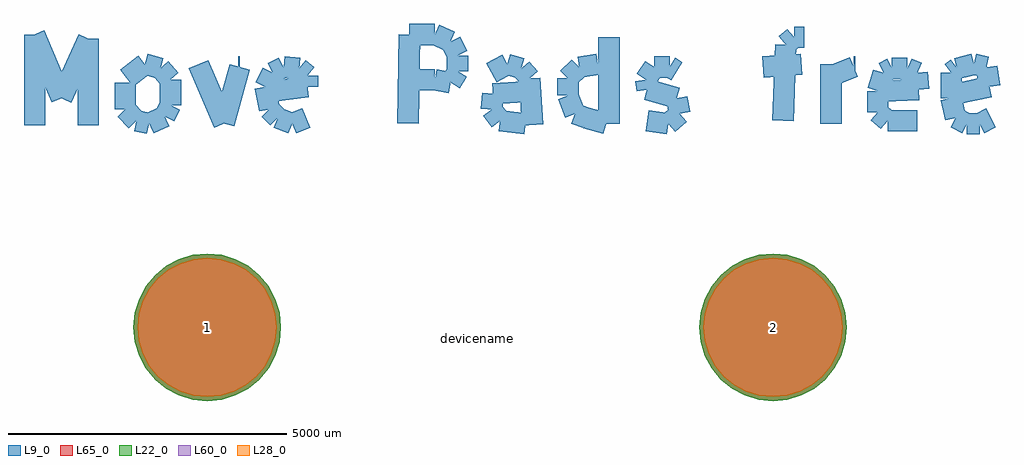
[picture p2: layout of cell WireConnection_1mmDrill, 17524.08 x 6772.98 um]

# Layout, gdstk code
import gdstk
lib = gdstk.Library(unit=1e-6, precision=1e-09)
def P(c, l, *ps):  # polygons
    for p in ps: c.add(gdstk.Polygon(p, *l))
L9_0 = (9, 0)
L22_0 = (22, 0)
L28_0 = (28, 0)
L60_0 = (60, 0)
L65_0 = (65, 0)

wireconnection_1mmdrill = lib.new_cell('WireConnection_1mmDrill')
P(wireconnection_1mmdrill, L22_0, [(11484.68,0),(11459.227,258.432),(11383.845,506.933),(11261.431,735.953),(11096.69,936.69),(10895.953,1101.431),(10666.933,1223.845),(10418.432,1299.227),(10160,1324.68),(9901.568,1299.227),(9653.067,1223.845),(9424.047,1101.431),(9223.31,936.69),(9058.569,735.953),(8936.155,506.933),(8860.773,258.432),(8835.32,0),(8860.773,-258.432),(8936.155,-506.933),(9058.569,-735.953),(9223.31,-936.69),(9424.047,-1101.431),(9653.067,-1223.845),(9901.568,-1299.227),(10160,-1324.68),(10418.432,-1299.227),(10666.933,-1223.845),(10895.953,-1101.431),(11096.69,-936.69),(11261.431,-735.953),(11383.845,-506.933),(11459.227,-258.432)],
  [(1324.68,0),(1299.227,258.432),(1223.845,506.933),(1101.431,735.953),(936.69,936.69),(735.953,1101.431),(506.933,1223.845),(258.432,1299.227),(0,1324.68),(-258.432,1299.227),(-506.933,1223.845),(-735.953,1101.431),(-936.69,936.69),(-1101.431,735.953),(-1223.845,506.933),(-1299.227,258.432),(-1324.68,0),(-1299.227,-258.432),(-1223.845,-506.933),(-1101.431,-735.953),(-936.69,-936.69),(-735.953,-1101.431),(-506.933,-1223.845),(-258.432,-1299.227),(0,-1324.68),(258.432,-1299.227),(506.933,-1223.845),(735.953,-1101.431),(936.69,-936.69),(1101.431,-735.953),(1223.845,-506.933),(1299.227,-258.432)])
P(wireconnection_1mmdrill, L28_0, [(11409.68,0),(11385.668,243.8),(11314.554,478.232),(11199.071,694.285),(11043.657,883.657),(10854.285,1039.071),(10638.232,1154.554),(10403.8,1225.668),(10160,1249.68),(9916.2,1225.668),(9681.768,1154.554),(9465.715,1039.071),(9276.343,883.657),(9120.929,694.285),(9005.446,478.232),(8934.332,243.8),(8910.32,0),(8934.332,-243.8),(9005.446,-478.232),(9120.929,-694.285),(9276.343,-883.657),(9465.715,-1039.071),(9681.768,-1154.554),(9916.2,-1225.668),(10160,-1249.68),(10403.8,-1225.668),(10638.232,-1154.554),(10854.285,-1039.071),(11043.657,-883.657),(11199.071,-694.285),(11314.554,-478.232),(11385.668,-243.8)],
  [(1249.68,0),(1225.668,243.8),(1154.554,478.232),(1039.071,694.285),(883.657,883.657),(694.285,1039.071),(478.232,1154.554),(243.8,1225.668),(0,1249.68),(-243.8,1225.668),(-478.232,1154.554),(-694.285,1039.071),(-883.657,883.657),(-1039.071,694.285),(-1154.554,478.232),(-1225.668,243.8),(-1249.68,0),(-1225.668,-243.8),(-1154.554,-478.232),(-1039.071,-694.285),(-883.657,-883.657),(-694.285,-1039.071),(-478.232,-1154.554),(-243.8,-1225.668),(0,-1249.68),(243.8,-1225.668),(478.232,-1154.554),(694.285,-1039.071),(883.657,-883.657),(1039.071,-694.285),(1154.554,-478.232),(1225.668,-243.8)])
P(wireconnection_1mmdrill, L60_0, [(11409.68,0),(11385.668,243.8),(11314.554,478.232),(11199.071,694.285),(11043.657,883.657),(10854.285,1039.071),(10638.232,1154.554),(10403.8,1225.668),(10160,1249.68),(9916.2,1225.668),(9681.768,1154.554),(9465.715,1039.071),(9276.343,883.657),(9120.929,694.285),(9005.446,478.232),(8934.332,243.8),(8910.32,0),(8934.332,-243.8),(9005.446,-478.232),(9120.929,-694.285),(9276.343,-883.657),(9465.715,-1039.071),(9681.768,-1154.554),(9916.2,-1225.668),(10160,-1249.68),(10403.8,-1225.668),(10638.232,-1154.554),(10854.285,-1039.071),(11043.657,-883.657),(11199.071,-694.285),(11314.554,-478.232),(11385.668,-243.8)],
  [(1249.68,0),(1225.668,243.8),(1154.554,478.232),(1039.071,694.285),(883.657,883.657),(694.285,1039.071),(478.232,1154.554),(243.8,1225.668),(0,1249.68),(-243.8,1225.668),(-478.232,1154.554),(-694.285,1039.071),(-883.657,883.657),(-1039.071,694.285),(-1154.554,478.232),(-1225.668,243.8),(-1249.68,0),(-1225.668,-243.8),(-1154.554,-478.232),(-1039.071,-694.285),(-883.657,-883.657),(-694.285,-1039.071),(-478.232,-1154.554),(-243.8,-1225.668),(0,-1249.68),(243.8,-1225.668),(478.232,-1154.554),(694.285,-1039.071),(883.657,-883.657),(1039.071,-694.285),(1154.554,-478.232),(1225.668,-243.8)])
P(wireconnection_1mmdrill, L65_0, [(11484.68,0),(11459.227,258.432),(11383.845,506.933),(11261.431,735.953),(11096.69,936.69),(10895.953,1101.431),(10666.933,1223.845),(10418.432,1299.227),(10160,1324.68),(9901.568,1299.227),(9653.067,1223.845),(9424.047,1101.431),(9223.31,936.69),(9058.569,735.953),(8936.155,506.933),(8860.773,258.432),(8835.32,0),(8860.773,-258.432),(8936.155,-506.933),(9058.569,-735.953),(9223.31,-936.69),(9424.047,-1101.431),(9653.067,-1223.845),(9901.568,-1299.227),(10160,-1324.68),(10418.432,-1299.227),(10666.933,-1223.845),(10895.953,-1101.431),(11096.69,-936.69),(11261.431,-735.953),(11383.845,-506.933),(11459.227,-258.432)],
  [(1324.68,0),(1299.227,258.432),(1223.845,506.933),(1101.431,735.953),(936.69,936.69),(735.953,1101.431),(506.933,1223.845),(258.432,1299.227),(0,1324.68),(-258.432,1299.227),(-506.933,1223.845),(-735.953,1101.431),(-936.69,936.69),(-1101.431,735.953),(-1223.845,506.933),(-1299.227,258.432),(-1324.68,0),(-1299.227,-258.432),(-1223.845,-506.933),(-1101.431,-735.953),(-936.69,-936.69),(-735.953,-1101.431),(-506.933,-1223.845),(-258.432,-1299.227),(0,-1324.68),(258.432,-1299.227),(506.933,-1223.845),(735.953,-1101.431),(936.69,-936.69),(1101.431,-735.953),(1223.845,-506.933),(1299.227,-258.432)])
wireconnection_1mmdrill.add(gdstk.FlexPath([(-2133.6,5181.6),(-2133.6,3632.2)], 380.998, ends="flush", simple_path=True, layer=9, datatype=0))  # L9_0
wireconnection_1mmdrill.add(gdstk.FlexPath([(-2616.2,4114.8),(-2133.6,5181.6)], 380.998, ends="flush", simple_path=True, layer=9, datatype=0))  # L9_0
wireconnection_1mmdrill.add(gdstk.FlexPath([(-3098.8,5257.8),(-2616.2,4114.8)], 380.998, ends="flush", simple_path=True, layer=9, datatype=0))  # L9_0
wireconnection_1mmdrill.add(gdstk.FlexPath([(-3098.8,3632.2),(-3098.8,5257.8)], 380.998, ends="flush", simple_path=True, layer=9, datatype=0))  # L9_0
wireconnection_1mmdrill.add(gdstk.FlexPath([(-1117.6,4724.4),(-1447.8,4470.4)], 380.998, ends="flush", simple_path=True, layer=9, datatype=0))  # L9_0
wireconnection_1mmdrill.add(gdstk.FlexPath([(-838.2,4648.2),(-1117.6,4724.4)], 380.998, ends="flush", simple_path=True, layer=9, datatype=0))  # L9_0
wireconnection_1mmdrill.add(gdstk.FlexPath([(-660.4,4445),(-838.2,4648.2)], 380.998, ends="flush", simple_path=True, layer=9, datatype=0))  # L9_0
wireconnection_1mmdrill.add(gdstk.FlexPath([(-660.4,3987.8),(-660.4,4445)], 380.998, ends="flush", simple_path=True, layer=9, datatype=0))  # L9_0
wireconnection_1mmdrill.add(gdstk.FlexPath([(-762,3784.6),(-660.4,3987.8)], 380.998, ends="flush", simple_path=True, layer=9, datatype=0))  # L9_0
wireconnection_1mmdrill.add(gdstk.FlexPath([(-1041.4,3657.6),(-762,3784.6)], 380.998, ends="flush", simple_path=True, layer=9, datatype=0))  # L9_0
wireconnection_1mmdrill.add(gdstk.FlexPath([(-1270,3708.4),(-1041.4,3657.6)], 380.998, ends="flush", simple_path=True, layer=9, datatype=0))  # L9_0
wireconnection_1mmdrill.add(gdstk.FlexPath([(-1473.2,3911.6),(-1270,3708.4)], 380.998, ends="flush", simple_path=True, layer=9, datatype=0))  # L9_0
wireconnection_1mmdrill.add(gdstk.FlexPath([(-1473.2,4394.2),(-1473.2,3911.6)], 380.998, ends="flush", simple_path=True, layer=9, datatype=0))  # L9_0
wireconnection_1mmdrill.add(gdstk.FlexPath([(584.2,4673.6),(558.8,4673.6)], 380.998, ends="flush", simple_path=True, layer=9, datatype=0))  # L9_0
wireconnection_1mmdrill.add(gdstk.FlexPath([(304.8,3657.6),(584.2,4673.6)], 380.998, ends="flush", simple_path=True, layer=9, datatype=0))  # L9_0
wireconnection_1mmdrill.add(gdstk.FlexPath([(-152.4,4724.4),(304.8,3657.6)], 380.998, ends="flush", simple_path=True, layer=9, datatype=0))  # L9_0
wireconnection_1mmdrill.add(gdstk.FlexPath([(1803.4,4318),(1168.4,4241.8)], 380.998, ends="flush", simple_path=True, layer=9, datatype=0))  # L9_0
wireconnection_1mmdrill.add(gdstk.FlexPath([(1803.4,4521.2),(1803.4,4318)], 380.998, ends="flush", simple_path=True, layer=9, datatype=0))  # L9_0
wireconnection_1mmdrill.add(gdstk.FlexPath([(1651,4648.2),(1803.4,4521.2)], 380.998, ends="flush", simple_path=True, layer=9, datatype=0))  # L9_0
wireconnection_1mmdrill.add(gdstk.FlexPath([(1371.6,4673.6),(1651,4648.2)], 380.998, ends="flush", simple_path=True, layer=9, datatype=0))  # L9_0
wireconnection_1mmdrill.add(gdstk.FlexPath([(1168.4,4572),(1371.6,4673.6)], 380.998, ends="flush", simple_path=True, layer=9, datatype=0))  # L9_0
wireconnection_1mmdrill.add(gdstk.FlexPath([(1041.4,4318),(1168.4,4572)], 380.998, ends="flush", simple_path=True, layer=9, datatype=0))  # L9_0
wireconnection_1mmdrill.add(gdstk.FlexPath([(1117.6,3911.6),(1041.4,4318)], 380.998, ends="flush", simple_path=True, layer=9, datatype=0))  # L9_0
wireconnection_1mmdrill.add(gdstk.FlexPath([(1270,3759.2),(1117.6,3911.6)], 380.998, ends="flush", simple_path=True, layer=9, datatype=0))  # L9_0
wireconnection_1mmdrill.add(gdstk.FlexPath([(1524,3657.6),(1270,3759.2)], 380.998, ends="flush", simple_path=True, layer=9, datatype=0))  # L9_0
wireconnection_1mmdrill.add(gdstk.FlexPath([(1778,3759.2),(1524,3657.6)], 380.998, ends="flush", simple_path=True, layer=9, datatype=0))  # L9_0
wireconnection_1mmdrill.add(gdstk.FlexPath([(4089.4,4445),(3632.2,4445)], 380.998, ends="flush", simple_path=True, layer=9, datatype=0))  # L9_0
wireconnection_1mmdrill.add(gdstk.FlexPath([(4368.8,4394.2),(4089.4,4445)], 380.998, ends="flush", simple_path=True, layer=9, datatype=0))  # L9_0
wireconnection_1mmdrill.add(gdstk.FlexPath([(4495.8,4597.4),(4368.8,4394.2)], 380.998, ends="flush", simple_path=True, layer=9, datatype=0))  # L9_0
wireconnection_1mmdrill.add(gdstk.FlexPath([(4495.8,4876.8),(4495.8,4597.4)], 380.998, ends="flush", simple_path=True, layer=9, datatype=0))  # L9_0
wireconnection_1mmdrill.add(gdstk.FlexPath([(4368.8,5130.8),(4495.8,4876.8)], 380.998, ends="flush", simple_path=True, layer=9, datatype=0))  # L9_0
wireconnection_1mmdrill.add(gdstk.FlexPath([(4089.4,5257.8),(4368.8,5130.8)], 380.998, ends="flush", simple_path=True, layer=9, datatype=0))  # L9_0
wireconnection_1mmdrill.add(gdstk.FlexPath([(3632.2,5257.8),(4089.4,5257.8)], 380.998, ends="flush", simple_path=True, layer=9, datatype=0))  # L9_0
wireconnection_1mmdrill.add(gdstk.FlexPath([(3606.8,3657.6),(3632.2,5257.8)], 380.998, ends="flush", simple_path=True, layer=9, datatype=0))  # L9_0
wireconnection_1mmdrill.add(gdstk.FlexPath([(5791.2,4470.4),(5842,3632.2)], 380.998, ends="flush", simple_path=True, layer=9, datatype=0))  # L9_0
wireconnection_1mmdrill.add(gdstk.FlexPath([(5638.8,4648.2),(5791.2,4470.4)], 380.998, ends="flush", simple_path=True, layer=9, datatype=0))  # L9_0
wireconnection_1mmdrill.add(gdstk.FlexPath([(5384.8,4724.4),(5638.8,4648.2)], 380.998, ends="flush", simple_path=True, layer=9, datatype=0))  # L9_0
wireconnection_1mmdrill.add(gdstk.FlexPath([(5105.4,4572),(5384.8,4724.4)], 380.998, ends="flush", simple_path=True, layer=9, datatype=0))  # L9_0
wireconnection_1mmdrill.add(gdstk.FlexPath([(5130.8,4191),(5842,4241.8)], 380.998, ends="flush", simple_path=True, layer=9, datatype=0))  # L9_0
wireconnection_1mmdrill.add(gdstk.FlexPath([(5105.4,3911.6),(5130.8,4191)], 380.998, ends="flush", simple_path=True, layer=9, datatype=0))  # L9_0
wireconnection_1mmdrill.add(gdstk.FlexPath([(5257.8,3708.4),(5105.4,3911.6)], 380.998, ends="flush", simple_path=True, layer=9, datatype=0))  # L9_0
wireconnection_1mmdrill.add(gdstk.FlexPath([(5715,3657.6),(5257.8,3708.4)], 380.998, ends="flush", simple_path=True, layer=9, datatype=0))  # L9_0
wireconnection_1mmdrill.add(gdstk.FlexPath([(7213.6,5207),(7213.6,3657.6)], 380.998, ends="flush", simple_path=True, layer=9, datatype=0))  # L9_0
wireconnection_1mmdrill.add(gdstk.FlexPath([(6680.2,4673.6),(7010.4,4724.4)], 380.998, ends="flush", simple_path=True, layer=9, datatype=0))  # L9_0
wireconnection_1mmdrill.add(gdstk.FlexPath([(6477,4470.4),(6680.2,4673.6)], 380.998, ends="flush", simple_path=True, layer=9, datatype=0))  # L9_0
wireconnection_1mmdrill.add(gdstk.FlexPath([(6477,4165.6),(6477,4470.4)], 380.998, ends="flush", simple_path=True, layer=9, datatype=0))  # L9_0
wireconnection_1mmdrill.add(gdstk.FlexPath([(6604,3835.4),(6477,4165.6)], 380.998, ends="flush", simple_path=True, layer=9, datatype=0))  # L9_0
wireconnection_1mmdrill.add(gdstk.FlexPath([(6807.2,3759.2),(6604,3835.4)], 380.998, ends="flush", simple_path=True, layer=9, datatype=0))  # L9_0
wireconnection_1mmdrill.add(gdstk.FlexPath([(7162.8,3657.6),(6807.2,3759.2)], 380.998, ends="flush", simple_path=True, layer=9, datatype=0))  # L9_0
wireconnection_1mmdrill.add(gdstk.FlexPath([(8280.4,3657.6),(7899.4,3708.4)], 380.998, ends="flush", simple_path=True, layer=9, datatype=0))  # L9_0
wireconnection_1mmdrill.add(gdstk.FlexPath([(8483.6,3835.4),(8280.4,3657.6)], 380.998, ends="flush", simple_path=True, layer=9, datatype=0))  # L9_0
wireconnection_1mmdrill.add(gdstk.FlexPath([(8432.8,4114.8),(8483.6,3835.4)], 380.998, ends="flush", simple_path=True, layer=9, datatype=0))  # L9_0
wireconnection_1mmdrill.add(gdstk.FlexPath([(8178.8,4191),(8432.8,4114.8)], 380.998, ends="flush", simple_path=True, layer=9, datatype=0))  # L9_0
wireconnection_1mmdrill.add(gdstk.FlexPath([(7899.4,4267.2),(8178.8,4191)], 380.998, ends="flush", simple_path=True, layer=9, datatype=0))  # L9_0
wireconnection_1mmdrill.add(gdstk.FlexPath([(7874,4445),(7899.4,4267.2)], 380.998, ends="flush", simple_path=True, layer=9, datatype=0))  # L9_0
wireconnection_1mmdrill.add(gdstk.FlexPath([(8026.4,4673.6),(7874,4445)], 380.998, ends="flush", simple_path=True, layer=9, datatype=0))  # L9_0
wireconnection_1mmdrill.add(gdstk.FlexPath([(8305.8,4673.6),(8026.4,4673.6)], 380.998, ends="flush", simple_path=True, layer=9, datatype=0))  # L9_0
wireconnection_1mmdrill.add(gdstk.FlexPath([(8432.8,4597.4),(8305.8,4673.6)], 380.998, ends="flush", simple_path=True, layer=9, datatype=0))  # L9_0
wireconnection_1mmdrill.add(gdstk.FlexPath([(10388.6,5080),(10337.8,3708.4)], 380.998, ends="flush", simple_path=True, layer=9, datatype=0))  # L9_0
wireconnection_1mmdrill.add(gdstk.FlexPath([(10541,5207),(10388.6,5080)], 380.998, ends="flush", simple_path=True, layer=9, datatype=0))  # L9_0
wireconnection_1mmdrill.add(gdstk.FlexPath([(10718.8,5207),(10541,5207)], 380.998, ends="flush", simple_path=True, layer=9, datatype=0))  # L9_0
wireconnection_1mmdrill.add(gdstk.FlexPath([(9982.2,4673.6),(10668,4724.4)], 380.998, ends="flush", simple_path=True, layer=9, datatype=0))  # L9_0
wireconnection_1mmdrill.add(gdstk.FlexPath([(11201.4,4724.4),(11201.4,3657.6)], 380.998, ends="flush", simple_path=True, layer=9, datatype=0))  # L9_0
wireconnection_1mmdrill.add(gdstk.FlexPath([(11607.8,4673.6),(11633.2,4673.6)], 380.998, ends="flush", simple_path=True, layer=9, datatype=0))  # L9_0
wireconnection_1mmdrill.add(gdstk.FlexPath([(11226.8,4521.2),(11607.8,4673.6)], 380.998, ends="flush", simple_path=True, layer=9, datatype=0))  # L9_0
wireconnection_1mmdrill.add(gdstk.FlexPath([(12776.2,4267.2),(12141.2,4241.8)], 380.998, ends="flush", simple_path=True, layer=9, datatype=0))  # L9_0
wireconnection_1mmdrill.add(gdstk.FlexPath([(12750.8,4572),(12776.2,4267.2)], 380.998, ends="flush", simple_path=True, layer=9, datatype=0))  # L9_0
wireconnection_1mmdrill.add(gdstk.FlexPath([(12573,4648.2),(12750.8,4572)], 380.998, ends="flush", simple_path=True, layer=9, datatype=0))  # L9_0
wireconnection_1mmdrill.add(gdstk.FlexPath([(12293.6,4648.2),(12573,4648.2)], 380.998, ends="flush", simple_path=True, layer=9, datatype=0))  # L9_0
wireconnection_1mmdrill.add(gdstk.FlexPath([(12141.2,4572),(12293.6,4648.2)], 380.998, ends="flush", simple_path=True, layer=9, datatype=0))  # L9_0
wireconnection_1mmdrill.add(gdstk.FlexPath([(12039.6,4241.8),(12141.2,4572)], 380.998, ends="flush", simple_path=True, layer=9, datatype=0))  # L9_0
wireconnection_1mmdrill.add(gdstk.FlexPath([(12039.6,3860.8),(12039.6,4241.8)], 380.998, ends="flush", simple_path=True, layer=9, datatype=0))  # L9_0
wireconnection_1mmdrill.add(gdstk.FlexPath([(12217.4,3708.4),(12039.6,3860.8)], 380.998, ends="flush", simple_path=True, layer=9, datatype=0))  # L9_0
wireconnection_1mmdrill.add(gdstk.FlexPath([(12420.6,3708.4),(12217.4,3708.4)], 380.998, ends="flush", simple_path=True, layer=9, datatype=0))  # L9_0
wireconnection_1mmdrill.add(gdstk.FlexPath([(12750.8,3708.4),(12420.6,3708.4)], 380.998, ends="flush", simple_path=True, layer=9, datatype=0))  # L9_0
wireconnection_1mmdrill.add(gdstk.FlexPath([(13436.6,4191),(13436.6,4241.8)], 380.998, ends="flush", simple_path=True, layer=9, datatype=0))  # L9_0
wireconnection_1mmdrill.add(gdstk.FlexPath([(14046.2,4318),(13436.6,4191)], 380.998, ends="flush", simple_path=True, layer=9, datatype=0))  # L9_0
wireconnection_1mmdrill.add(gdstk.FlexPath([(13995.4,4673.6),(14046.2,4318)], 380.998, ends="flush", simple_path=True, layer=9, datatype=0))  # L9_0
wireconnection_1mmdrill.add(gdstk.FlexPath([(13766.8,4724.4),(13995.4,4673.6)], 380.998, ends="flush", simple_path=True, layer=9, datatype=0))  # L9_0
wireconnection_1mmdrill.add(gdstk.FlexPath([(13462,4648.2),(13766.8,4724.4)], 380.998, ends="flush", simple_path=True, layer=9, datatype=0))  # L9_0
wireconnection_1mmdrill.add(gdstk.FlexPath([(13360.4,4572),(13462,4648.2)], 380.998, ends="flush", simple_path=True, layer=9, datatype=0))  # L9_0
wireconnection_1mmdrill.add(gdstk.FlexPath([(13360.4,4114.8),(13360.4,4572)], 380.998, ends="flush", simple_path=True, layer=9, datatype=0))  # L9_0
wireconnection_1mmdrill.add(gdstk.FlexPath([(13436.6,3759.2),(13360.4,4114.8)], 380.998, ends="flush", simple_path=True, layer=9, datatype=0))  # L9_0
wireconnection_1mmdrill.add(gdstk.FlexPath([(13639.8,3657.6),(13436.6,3759.2)], 380.998, ends="flush", simple_path=True, layer=9, datatype=0))  # L9_0
wireconnection_1mmdrill.add(gdstk.FlexPath([(13868.4,3657.6),(13639.8,3657.6)], 380.998, ends="flush", simple_path=True, layer=9, datatype=0))  # L9_0
wireconnection_1mmdrill.add(gdstk.FlexPath([(14071.6,3759.2),(13868.4,3657.6)], 380.998, ends="flush", simple_path=True, layer=9, datatype=0))  # L9_0
wireconnection_1mmdrill.add(gdstk.Label('2', (10160,0), layer=28, texttype=0))
wireconnection_1mmdrill.add(gdstk.Label('1', (0,0), layer=28, texttype=0))
wireconnection_1mmdrill.add(gdstk.Label('type', (5080,-3810), layer=9, texttype=0))
wireconnection_1mmdrill.add(gdstk.Label('devicename', (4851.4,-203.2), layer=9, texttype=0))

lib.write_gds('WireConnection_1mmDrill.gds')
